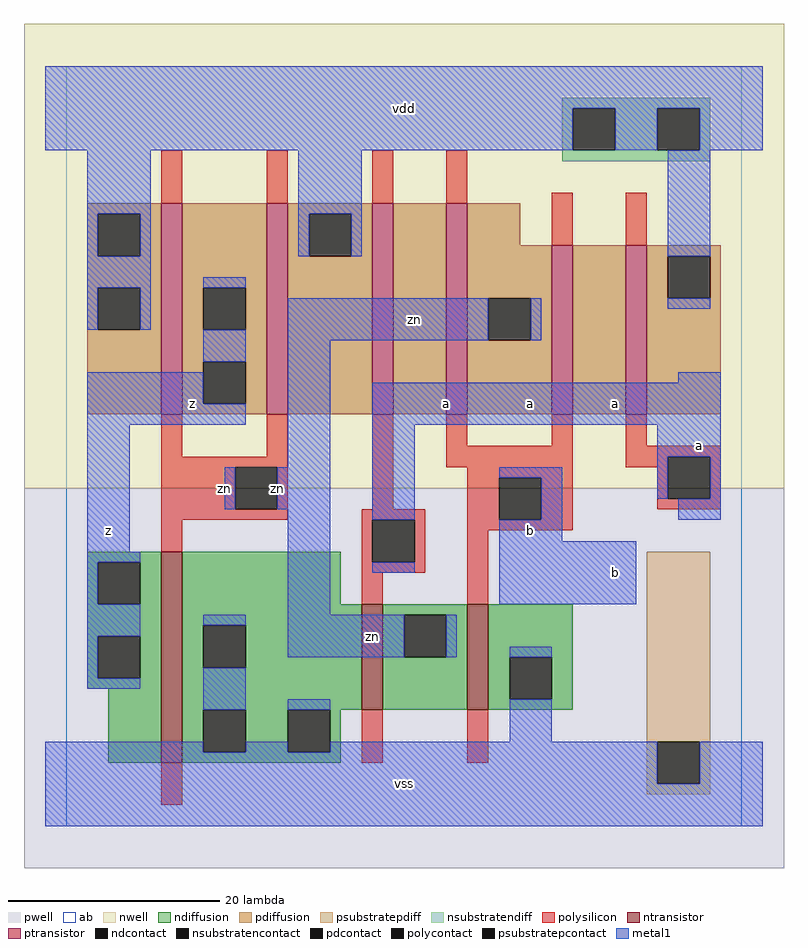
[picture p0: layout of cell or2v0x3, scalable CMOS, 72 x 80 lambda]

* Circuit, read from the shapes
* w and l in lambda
.subckt or2v0x3 a b vdd vss z zn
M1 vss zn z vss nfet w=20 l=2
M2 zn a vss vss nfet w=10 l=2
M3 vss b zn vss nfet w=10 l=2
M4 z zn vdd vdd pfet w=20 l=2 m=2
M5 n1 a vdd vdd pfet w=20 l=2
M6 zn b n1 vdd pfet w=20 l=2
M7 n2 b zn vdd pfet w=16 l=2
M8 vdd a n2 vdd pfet w=16 l=2
.ends

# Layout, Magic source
magic
tech scmos
<< ab >>
rect 0 0 64 72
<< pwell >>
rect -4 -4 68 32
<< nwell >>
rect -4 32 68 76
<< polysilicon >>
rect 9 59 11 64
rect 19 59 21 64
rect 29 59 31 64
rect 36 59 38 64
rect 46 55 48 60
rect 53 55 55 60
rect 9 35 11 39
rect 19 35 21 39
rect 9 34 21 35
rect 9 30 16 34
rect 20 30 21 34
rect 29 30 31 39
rect 36 36 38 39
rect 46 36 48 39
rect 36 34 48 36
rect 53 36 55 39
rect 53 35 62 36
rect 53 34 57 35
rect 38 33 48 34
rect 9 29 21 30
rect 28 29 34 30
rect 9 26 11 29
rect 28 25 29 29
rect 33 25 34 29
rect 28 24 34 25
rect 38 29 41 33
rect 45 29 48 33
rect 56 31 57 34
rect 61 31 62 35
rect 56 30 62 31
rect 38 28 48 29
rect 28 21 30 24
rect 38 21 40 28
rect 28 6 30 11
rect 38 6 40 11
rect 9 2 11 6
<< ndiffusion >>
rect 2 25 9 26
rect 2 21 3 25
rect 7 21 9 25
rect 2 18 9 21
rect 2 14 3 18
rect 7 14 9 18
rect 2 13 9 14
rect 4 6 9 13
rect 11 21 26 26
rect 11 19 28 21
rect 11 15 13 19
rect 17 15 28 19
rect 11 11 28 15
rect 30 20 38 21
rect 30 16 32 20
rect 36 16 38 20
rect 30 11 38 16
rect 40 16 48 21
rect 40 12 42 16
rect 46 12 48 16
rect 40 11 48 12
rect 11 7 13 11
rect 17 7 21 11
rect 25 7 26 11
rect 11 6 26 7
<< pdiffusion >>
rect 2 58 9 59
rect 2 54 3 58
rect 7 54 9 58
rect 2 51 9 54
rect 2 47 3 51
rect 7 47 9 51
rect 2 39 9 47
rect 11 51 19 59
rect 11 47 13 51
rect 17 47 19 51
rect 11 44 19 47
rect 11 40 13 44
rect 17 40 19 44
rect 11 39 19 40
rect 21 58 29 59
rect 21 54 23 58
rect 27 54 29 58
rect 21 39 29 54
rect 31 39 36 59
rect 38 55 43 59
rect 38 50 46 55
rect 38 46 40 50
rect 44 46 46 50
rect 38 39 46 46
rect 48 39 53 55
rect 55 54 62 55
rect 55 50 57 54
rect 61 50 62 54
rect 55 39 62 50
<< metal1 >>
rect -2 68 66 72
rect -2 64 48 68
rect 52 64 56 68
rect 60 64 66 68
rect 2 58 8 64
rect 2 54 3 58
rect 7 54 8 58
rect 22 58 28 64
rect 22 54 23 58
rect 27 54 28 58
rect 57 54 61 64
rect 2 51 8 54
rect 2 47 3 51
rect 7 47 8 51
rect 13 51 17 52
rect 13 44 17 47
rect 2 40 13 43
rect 2 38 17 40
rect 21 46 40 50
rect 44 46 45 50
rect 57 49 61 50
rect 2 26 6 38
rect 21 34 25 46
rect 58 42 62 43
rect 15 30 16 34
rect 20 30 25 34
rect 2 25 7 26
rect 2 21 3 25
rect 2 18 7 21
rect 21 20 25 30
rect 29 38 62 42
rect 29 29 33 38
rect 56 35 62 38
rect 29 24 33 25
rect 41 33 47 34
rect 45 29 47 33
rect 56 31 57 35
rect 61 31 62 35
rect 58 29 62 31
rect 41 27 47 29
rect 41 21 54 27
rect 2 14 3 18
rect 2 13 7 14
rect 13 19 17 20
rect 21 16 32 20
rect 36 16 37 20
rect 42 16 46 17
rect 13 11 17 15
rect -2 7 13 8
rect 21 11 25 12
rect 17 7 21 8
rect 42 8 46 12
rect 25 7 56 8
rect -2 4 56 7
rect 60 4 66 8
rect -2 0 66 4
<< ntransistor >>
rect 9 6 11 26
rect 28 11 30 21
rect 38 11 40 21
<< ptransistor >>
rect 9 39 11 59
rect 19 39 21 59
rect 29 39 31 59
rect 36 39 38 59
rect 46 39 48 55
rect 53 39 55 55
<< polycontact >>
rect 16 30 20 34
rect 29 25 33 29
rect 41 29 45 33
rect 57 31 61 35
<< ndcontact >>
rect 3 21 7 25
rect 3 14 7 18
rect 13 15 17 19
rect 32 16 36 20
rect 42 12 46 16
rect 13 7 17 11
rect 21 7 25 11
<< pdcontact >>
rect 3 54 7 58
rect 3 47 7 51
rect 13 47 17 51
rect 13 40 17 44
rect 23 54 27 58
rect 40 46 44 50
rect 57 50 61 54
<< psubstratepcontact >>
rect 56 4 60 8
<< nsubstratencontact >>
rect 48 64 52 68
rect 56 64 60 68
<< psubstratepdiff >>
rect 55 8 61 26
rect 55 4 56 8
rect 60 4 61 8
rect 55 3 61 4
<< nsubstratendiff >>
rect 47 68 61 69
rect 47 64 48 68
rect 52 64 56 68
rect 60 64 61 68
rect 47 63 61 64
<< labels >>
rlabel polysilicon 15 32 15 32 6 zn
rlabel metal1 4 28 4 28 6 z
rlabel metal1 12 40 12 40 6 z
rlabel metal1 20 32 20 32 6 zn
rlabel metal1 32 4 32 4 6 vss
rlabel metal1 29 18 29 18 6 zn
rlabel metal1 44 28 44 28 6 b
rlabel metal1 44 40 44 40 6 a
rlabel metal1 36 40 36 40 6 a
rlabel metal1 33 48 33 48 6 zn
rlabel metal1 32 68 32 68 6 vdd
rlabel metal1 52 24 52 24 6 b
rlabel metal1 60 36 60 36 6 a
rlabel metal1 52 40 52 40 6 a
<< end >>
